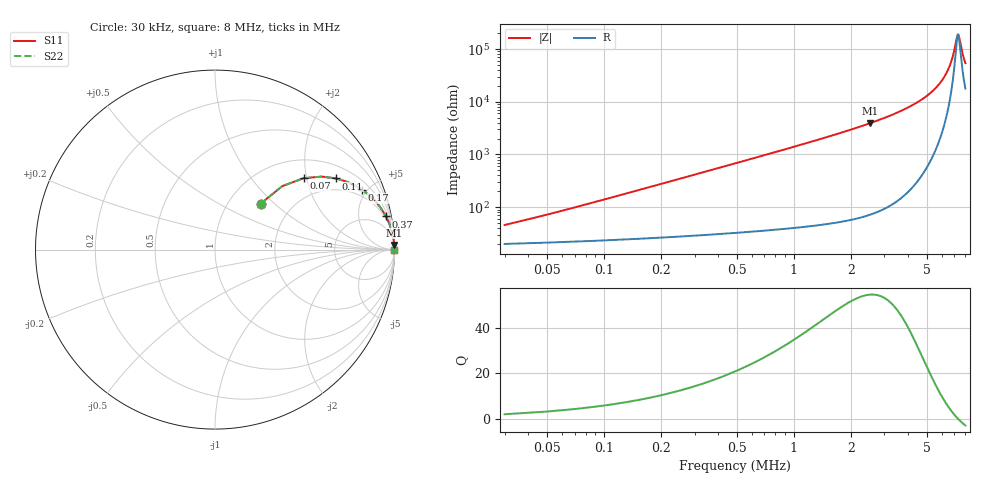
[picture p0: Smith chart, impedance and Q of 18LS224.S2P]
! Coilcraft 1812LS-224 Chip Inductor
! 8 August 2002
# MHZ S MA R 50
!Freq  MagS11  AngS11  MagS21  AngS21  MagS12  AngS12  MagS22  AngS22
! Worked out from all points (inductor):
!   400 points, 30 kHz to 8 MHz, reference 50 ohm
!   read as one part in series: L = 218 uH near 70 kHz
!   highest Q = 54.6 at 2.53 MHz (marker M1), where L = 248 uH
!   self-resonance near 7.31 MHz
!   S11 on the Smith chart (normalised r, x): 30 kHz: 1.40, +0.82; 70 kHz: 1.44, +1.92; 110 kHz: 1.47, +3.01; 170 kHz: 1.51, +4.66; 370 kHz: 2, +10; 8 MHz: open
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0.03  0.3603 45.1  0.7884 -18.9  0.7884 -18.9  0.3603 45.1
0.05  0.515 43.3  0.7185 -29.5  0.7185 -29.5  0.515 43.3
0.07  0.6338 38.9  0.6441 -38.1  0.6441 -38.1  0.6338 38.9
0.11  0.7825 30.4  0.513 -50.6  0.513 -50.6  0.7825 30.4
0.17  0.8856 22.1  0.3779 -61.7  0.3779 -61.7  0.8856 22.1
0.25  0.9402 15.8  0.2734 -69.6  0.2734 -69.6  0.9402 15.8
0.37  0.9704 11.0  0.1907 -75.6  0.1907 -75.6  0.9704 11.0
0.55  0.9858 7.5  0.13 -80.0  0.13 -80.0  0.9858 7.5
0.77  0.9925 5.3  0.093 -82.7  0.093 -82.7  0.9925 5.3
1.37  0.9975 2.9  0.05128 -85.7  0.05128 -85.7  0.9975 2.9
2.53  0.9992 1.5  0.02539 -87.5  0.02539 -87.5  0.9992 1.5
2.69  0.9993 1.3  0.02346 -87.6  0.02346 -87.6  0.9993 1.3
4.03  0.9996 0.7  0.01262 -87.8  0.01262 -87.8  0.9996 0.7
5.35  0.9996 0.4  0.006366 -86.4  0.006366 -86.4  0.9996 0.4
6.13  0.9996 0.2  0.003586 -83.2  0.003586 -83.2  0.9996 0.2
6.69  0.9995 0.1  0.001864 -75.6  0.001864 -75.6  0.9995 0.1
6.93  0.9995 0.1  0.001206 -66.2  0.001206 -66.2  0.9995 0.1
7.23  0.9995 0.0  0.0005796 -26.7  0.0005796 -26.7  0.9995 0.0
7.31  0.9995 0.0  0.0005285 -4.5  0.0005285 -4.5  0.9995 0.0
7.39  0.9995 -0.0  0.0005638 18.0  0.0005638 18.0  0.9995 -0.0
7.71  0.9994 -0.1  0.001168 60.5  0.001168 60.5  0.9994 -0.1
8  0.9994 -0.1  0.001856 70.7  0.001856 70.7  0.9994 -0.1
